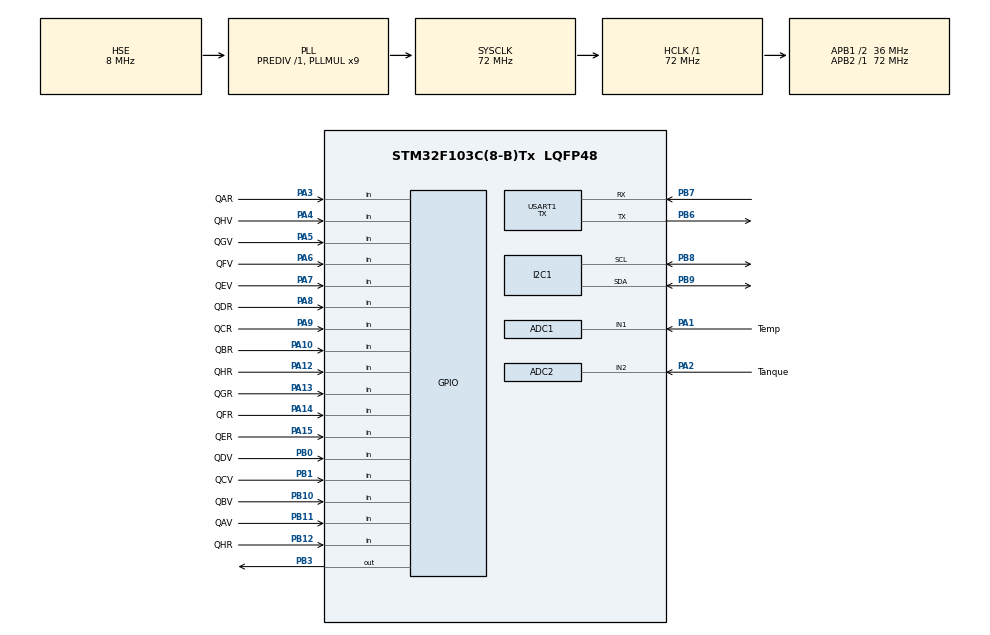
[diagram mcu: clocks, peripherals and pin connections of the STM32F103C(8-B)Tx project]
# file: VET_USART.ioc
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ADC1.Channel-0\#ChannelRegularConversion=ADC_CHANNEL_1
ADC1.ContinuousConvMode=ENABLE
ADC1.NbrOfConversionFlag=1
ADC1.Rank-0\#ChannelRegularConversion=1
ADC1.SamplingTime-0\#ChannelRegularConversion=ADC_SAMPLETIME_1CYCLE_5
ADC1.master=1
ADC2.Channel-0\#ChannelRegularConversion=ADC_CHANNEL_2
ADC2.ContinuousConvMode=ENABLE
ADC2.NbrOfConversionFlag=1
ADC2.Rank-0\#ChannelRegularConversion=1
ADC2.SamplingTime-0\#ChannelRegularConversion=ADC_SAMPLETIME_1CYCLE_5
Mcu.Family=STM32F1
Mcu.Name=STM32F103C(8-B)Tx
Mcu.Package=LQFP48
NVIC.PriorityGroup=NVIC_PRIORITYGROUP_4
NVIC.TIM3_IRQn=true\:0\:0\:false\:false\:true\:true\:true\:true
PA1.GPIO_Label=Temp
PA1.Signal=ADCx_IN1
PA10.GPIO_Label=QBR
PA10.Signal=GPIO_Input
PA12.GPIO_Label=QHR
PA12.Signal=GPIO_Input
PA13.GPIO_Label=QGR
PA13.Signal=GPIO_Input
PA14.GPIO_Label=QFR
PA14.Signal=GPIO_Input
PA15.GPIO_Label=QER
PA15.Signal=GPIO_Input
PA2.GPIO_Label=Tanque
PA2.Signal=ADCx_IN2
PA3.GPIO_Label=QAR
PA3.Signal=GPIO_Input
PA4.GPIO_Label=QHV
PA4.Signal=GPIO_Input
PA5.GPIO_Label=QGV
PA5.Signal=GPIO_Input
PA6.GPIO_Label=QFV
PA6.Signal=GPIO_Input
PA7.GPIO_Label=QEV
PA7.Signal=GPIO_Input
PA8.GPIO_Label=QDR
PA8.Signal=GPIO_Input
PA9.GPIO_Label=QCR
PA9.Signal=GPIO_Input
PB0.GPIO_Label=QDV
PB0.Signal=GPIO_Input
PB1.GPIO_Label=QCV
PB1.Signal=GPIO_Input
PB10.GPIO_Label=QBV
PB10.Signal=GPIO_Input
PB11.GPIO_Label=QAV
PB11.Signal=GPIO_Input
PB12.GPIO_Label=QHR
PB12.Signal=GPIO_Input
PB3.GPIO_Speed=GPIO_SPEED_FREQ_HIGH
PB3.Signal=GPIO_Output
PB6.Mode=Asynchronous
PB6.Signal=USART1_TX
PB7.Mode=Asynchronous
PB7.Signal=USART1_RX
PB8.Mode=I2C
PB8.Signal=I2C1_SCL
PB9.Mode=I2C
PB9.Signal=I2C1_SDA
PD0-OSC_IN.Mode=HSE-External-Oscillator
PD0-OSC_IN.Signal=RCC_OSC_IN
PD1-OSC_OUT.Mode=HSE-External-Oscillator
PD1-OSC_OUT.Signal=RCC_OSC_OUT
ProjectManager.HeapSize=0x200
ProjectManager.StackSize=0x400
ProjectManager.TargetToolchain=STM32CubeIDE
RCC.ADCPresc=RCC_ADCPCLK2_DIV6
RCC.AHBFreq_Value=72000000
RCC.APB1CLKDivider=RCC_HCLK_DIV2
RCC.APB1Freq_Value=36000000
RCC.APB1TimFreq_Value=72000000
RCC.APB2Freq_Value=72000000
RCC.APB2TimFreq_Value=72000000
RCC.HCLKFreq_Value=72000000
RCC.PLLMUL=RCC_PLL_MUL9
RCC.PLLSourceVirtual=RCC_PLLSOURCE_HSE
RCC.SYSCLKFreq_VALUE=72000000
RCC.SYSCLKSource=RCC_SYSCLKSOURCE_PLLCLK
RCC.USBFreq_Value=72000000
SH.ADCx_IN1.0=ADC1_IN1,IN1
SH.ADCx_IN2.0=ADC2_IN2,IN2
TIM3.Period=5000
TIM3.Prescaler=7200
USART1.Mode=MODE_TX
USART1.VirtualMode=VM_ASYNC
VP_SYS_VS_ND.Mode=No_Debug
VP_TIM3_VS_ClockSourceINT.Mode=Internal
board=custom

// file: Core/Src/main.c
/* USER CODE BEGIN Header */
/**
  ******************************************************************************
  * @file           : main.c
  * @brief          : Main program body
  ******************************************************************************
  * @attention
  *
  * Copyright (c) 2023 STMicroelectronics.
  * All rights reserved.
  *
  * This software is licensed under terms that can be found in the LICENSE file
  * in the root directory of this software component.
  * If no LICENSE file comes with this software, it is provided AS-IS.
  *
  ******************************************************************************
  */
/* USER CODE END Header */
#include "main.h"

ADC_HandleTypeDef hadc1;
ADC_HandleTypeDef hadc2;

I2C_HandleTypeDef hi2c1;

TIM_HandleTypeDef htim3;

UART_HandleTypeDef huart1;

void SystemClock_Config(void);
static void MX_GPIO_Init(void);
static void MX_ADC1_Init(void);
static void MX_ADC2_Init(void);
static void MX_TIM3_Init(void);
static void MX_I2C1_Init(void);
static void MX_USART1_UART_Init(void);

/* USER CODE BEGIN 0 */
int32_t tanque;
int32_t temp;

int rpm, velo, rotacao, gas;
int QAR, QBR, QCR, QDR, QER, QFR, QGR, QHR;
int QAV, QBV, QCV, QDV, QEV, QFV, QGV, QHV;
int clear, rot;

uint8_t Cmd_End[3] = {0xff,0xff,0xff};

void NEXTION_SendNum (char *obj, int32_t temp, int32_t tanque)
{
	uint8_t *buffer = malloc(30*sizeof (char));
	int len = sprintf ((char *)buffer, "%gas.val=%ld", obj, tanque);
	HAL_UART_Transmit(&huart1, buffer, len, 1000);
	HAL_UART_Transmit(&huart1, Cmd_End, 3, 100);
	free(buffer);
	*buffer = malloc(30*sizeof (char));
    len = sprintf ((char *)buffer, "%temp.val=%ld", obj, temp);
    HAL_UART_Transmit(&huart1, buffer, len, 1000);
    HAL_UART_Transmit(&huart1, Cmd_End, 3, 100);
	free(buffer);
}

/* USER CODE END 0 */

int main(void)
{
  /* USER CODE BEGIN 1 */
 // uint8_t MSG[35] = {'\0'};
  /* USER CODE END 1 */

  /* MCU Configuration--------------------------------------------------------*/

  /* Reset of all peripherals, Initializes the Flash interface and the Systick. */
  HAL_Init();

  /* Configure the system clock */
  SystemClock_Config();

  /* Initialize all configured peripherals */
  MX_GPIO_Init();
  MX_ADC1_Init();
  MX_ADC2_Init();
  MX_TIM3_Init();
  MX_I2C1_Init();
  MX_USART1_UART_Init();
  /* USER CODE BEGIN 2 */
  HAL_ADC_Start(&hadc1);
  HAL_ADC_Start(&hadc2);
  HAL_TIM_Base_Start_IT(&htim3);
  /* USER CODE END 2 */

  /* Infinite loop */
  /* USER CODE BEGIN WHILE */
  while (1)
  {
	//HAL_GPIO_WritePin(Clear_GPIO_Port, Clear_Pin, GPIO_PIN_SET);//clear
    /*sprintf(MSG, "%d", tanque);
  	HAL_UART_Transmit(&huart1, MSG, sizeof(MSG), 100);
  	sprintf(MSG, ",%d", temp);
  	HAL_UART_Transmit(&huart1, MSG, sizeof(MSG), 100);
  	sprintf(MSG, "%d", rpm);
    HAL_UART_Transmit(&huart1, MSG, sizeof(MSG), 100);
  	sprintf(MSG, ",%d", velo);
    HAL_UART_Transmit(&huart1, MSG, sizeof(MSG), 100);
  	sprintf(MSG, ";\r\n");
    HAL_UART_Transmit(&huart1, MSG, sizeof(MSG), 100);*/
	NEXTION_SendNum("n0", temp, tanque);

    /* USER CODE END WHILE */

  }
}

void SystemClock_Config(void)
{
  RCC_OscInitTypeDef RCC_OscInitStruct = {0};
  RCC_ClkInitTypeDef RCC_ClkInitStruct = {0};
  RCC_PeriphCLKInitTypeDef PeriphClkInit = {0};

  /** Initializes the RCC Oscillators according to the specified parameters
  * in the RCC_OscInitTypeDef structure.
  */
  RCC_OscInitStruct.OscillatorType = RCC_OSCILLATORTYPE_HSE;
  RCC_OscInitStruct.HSEState = RCC_HSE_ON;
  RCC_OscInitStruct.HSEPredivValue = RCC_HSE_PREDIV_DIV1;
  RCC_OscInitStruct.HSIState = RCC_HSI_ON;
  RCC_OscInitStruct.PLL.PLLState = RCC_PLL_ON;
  RCC_OscInitStruct.PLL.PLLSource = RCC_PLLSOURCE_HSE;
  RCC_OscInitStruct.PLL.PLLMUL = RCC_PLL_MUL9;
  if (HAL_RCC_OscConfig(&RCC_OscInitStruct) != HAL_OK)
  {
    Error_Handler();
  }

  /** Initializes the CPU, AHB and APB buses clocks
  */
  RCC_ClkInitStruct.ClockType = RCC_CLOCKTYPE_HCLK|RCC_CLOCKTYPE_SYSCLK
                              |RCC_CLOCKTYPE_PCLK1|RCC_CLOCKTYPE_PCLK2;
  RCC_ClkInitStruct.SYSCLKSource = RCC_SYSCLKSOURCE_PLLCLK;
  RCC_ClkInitStruct.AHBCLKDivider = RCC_SYSCLK_DIV1;
  RCC_ClkInitStruct.APB1CLKDivider = RCC_HCLK_DIV2;
  RCC_ClkInitStruct.APB2CLKDivider = RCC_HCLK_DIV1;

  if (HAL_RCC_ClockConfig(&RCC_ClkInitStruct, FLASH_LATENCY_2) != HAL_OK)
  {
    Error_Handler();
  }
  PeriphClkInit.PeriphClockSelection = RCC_PERIPHCLK_ADC;
  PeriphClkInit.AdcClockSelection = RCC_ADCPCLK2_DIV6;
  if (HAL_RCCEx_PeriphCLKConfig(&PeriphClkInit) != HAL_OK)
  {
    Error_Handler();
  }
}

static void MX_ADC1_Init(void)
{

  ADC_ChannelConfTypeDef sConfig = {0};

  /** Common config
  */
  hadc1.Instance = ADC1;
  hadc1.Init.ScanConvMode = ADC_SCAN_DISABLE;
  hadc1.Init.ContinuousConvMode = ENABLE;
  hadc1.Init.DiscontinuousConvMode = DISABLE;
  hadc1.Init.ExternalTrigConv = ADC_SOFTWARE_START;
  hadc1.Init.DataAlign = ADC_DATAALIGN_RIGHT;
  hadc1.Init.NbrOfConversion = 1;
  if (HAL_ADC_Init(&hadc1) != HAL_OK)
  {
    Error_Handler();
  }

  /** Configure Regular Channel
  */
  sConfig.Channel = ADC_CHANNEL_1;
  sConfig.Rank = ADC_REGULAR_RANK_1;
  sConfig.SamplingTime = ADC_SAMPLETIME_1CYCLE_5;
  if (HAL_ADC_ConfigChannel(&hadc1, &sConfig) != HAL_OK)
  {
    Error_Handler();
  }

}

static void MX_ADC2_Init(void)
{

  ADC_ChannelConfTypeDef sConfig = {0};

  /** Common config
  */
  hadc2.Instance = ADC2;
  hadc2.Init.ScanConvMode = ADC_SCAN_DISABLE;
  hadc2.Init.ContinuousConvMode = ENABLE;
  hadc2.Init.DiscontinuousConvMode = DISABLE;
  hadc2.Init.ExternalTrigConv = ADC_SOFTWARE_START;
  hadc2.Init.DataAlign = ADC_DATAALIGN_RIGHT;
  hadc2.Init.NbrOfConversion = 1;
  if (HAL_ADC_Init(&hadc2) != HAL_OK)
  {
    Error_Handler();
  }

  /** Configure Regular Channel
  */
  sConfig.Channel = ADC_CHANNEL_2;
  sConfig.Rank = ADC_REGULAR_RANK_1;
  sConfig.SamplingTime = ADC_SAMPLETIME_1CYCLE_5;
  if (HAL_ADC_ConfigChannel(&hadc2, &sConfig) != HAL_OK)
  {
    Error_Handler();
  }

}

static void MX_I2C1_Init(void)
{

  hi2c1.Instance = I2C1;
  hi2c1.Init.ClockSpeed = 100000;
  hi2c1.Init.DutyCycle = I2C_DUTYCYCLE_2;
  hi2c1.Init.OwnAddress1 = 0;
  hi2c1.Init.AddressingMode = I2C_ADDRESSINGMODE_7BIT;
  hi2c1.Init.DualAddressMode = I2C_DUALADDRESS_DISABLE;
  hi2c1.Init.OwnAddress2 = 0;
  hi2c1.Init.GeneralCallMode = I2C_GENERALCALL_DISABLE;
  hi2c1.Init.NoStretchMode = I2C_NOSTRETCH_DISABLE;
  if (HAL_I2C_Init(&hi2c1) != HAL_OK)
  {
    Error_Handler();
  }

}

static void MX_TIM3_Init(void)
{

  TIM_ClockConfigTypeDef sClockSourceConfig = {0};
  TIM_MasterConfigTypeDef sMasterConfig = {0};

  htim3.Instance = TIM3;
  htim3.Init.Prescaler = 7200;
  htim3.Init.CounterMode = TIM_COUNTERMODE_UP;
  htim3.Init.Period = 5000;
  htim3.Init.ClockDivision = TIM_CLOCKDIVISION_DIV1;
  htim3.Init.AutoReloadPreload = TIM_AUTORELOAD_PRELOAD_DISABLE;
  if (HAL_TIM_Base_Init(&htim3) != HAL_OK)
  {
    Error_Handler();
  }
  sClockSourceConfig.ClockSource = TIM_CLOCKSOURCE_INTERNAL;
  if (HAL_TIM_ConfigClockSource(&htim3, &sClockSourceConfig) != HAL_OK)
  {
    Error_Handler();
  }
  sMasterConfig.MasterOutputTrigger = TIM_TRGO_RESET;
  sMasterConfig.MasterSlaveMode = TIM_MASTERSLAVEMODE_DISABLE;
  if (HAL_TIMEx_MasterConfigSynchronization(&htim3, &sMasterConfig) != HAL_OK)
  {
    Error_Handler();
  }

}

static void MX_USART1_UART_Init(void)
{

  huart1.Instance = USART1;
  huart1.Init.BaudRate = 115200;
  huart1.Init.WordLength = UART_WORDLENGTH_8B;
  huart1.Init.StopBits = UART_STOPBITS_1;
  huart1.Init.Parity = UART_PARITY_NONE;
  huart1.Init.Mode = UART_MODE_TX;
  huart1.Init.HwFlowCtl = UART_HWCONTROL_NONE;
  huart1.Init.OverSampling = UART_OVERSAMPLING_16;
  if (HAL_UART_Init(&huart1) != HAL_OK)
  {
    Error_Handler();
  }

}

static void MX_GPIO_Init(void)
{
  GPIO_InitTypeDef GPIO_InitStruct = {0};

  /* GPIO Ports Clock Enable */
  __HAL_RCC_GPIOD_CLK_ENABLE();
  __HAL_RCC_GPIOA_CLK_ENABLE();
  __HAL_RCC_GPIOB_CLK_ENABLE();

  /*Configure GPIO pin Output Level */
  HAL_GPIO_WritePin(GPIOB, GPIO_PIN_3, GPIO_PIN_RESET);

  /*Configure GPIO pins : QAR_Pin QHV_Pin QGV_Pin QFV_Pin
                           QEV_Pin QDR_Pin QCR_Pin QBR_Pin
                           QHRA12_Pin QGR_Pin QFR_Pin QER_Pin */
  GPIO_InitStruct.Pin = QAR_Pin|QHV_Pin|QGV_Pin|QFV_Pin
                          |QEV_Pin|QDR_Pin|QCR_Pin|QBR_Pin
                          |QHRA12_Pin|QGR_Pin|QFR_Pin|QER_Pin;
  GPIO_InitStruct.Mode = GPIO_MODE_INPUT;
  GPIO_InitStruct.Pull = GPIO_NOPULL;
  HAL_GPIO_Init(GPIOA, &GPIO_InitStruct);

  /*Configure GPIO pins : QDV_Pin QCV_Pin QBV_Pin QAV_Pin
                           QHR_Pin */
  GPIO_InitStruct.Pin = QDV_Pin|QCV_Pin|QBV_Pin|QAV_Pin
                          |QHR_Pin;
  GPIO_InitStruct.Mode = GPIO_MODE_INPUT;
  GPIO_InitStruct.Pull = GPIO_NOPULL;
  HAL_GPIO_Init(GPIOB, &GPIO_InitStruct);

  /*Configure GPIO pin : PB3 */
  GPIO_InitStruct.Pin = GPIO_PIN_3;
  GPIO_InitStruct.Mode = GPIO_MODE_OUTPUT_PP;
  GPIO_InitStruct.Pull = GPIO_NOPULL;
  GPIO_InitStruct.Speed = GPIO_SPEED_FREQ_HIGH;
  HAL_GPIO_Init(GPIOB, &GPIO_InitStruct);

}

/* USER CODE BEGIN 4 */
void HAL_TIM_PeriodElapsedCallback(TIM_HandleTypeDef *htim)
{
  if(htim->Instance == TIM3)
  {
	  //leitura dos ADCS
	  HAL_ADC_PollForConversion(&hadc1,1000);
	  temp = HAL_ADC_GetValue(&hadc1);
	  HAL_ADC_PollForConversion(&hadc2,1000);
	  tanque = HAL_ADC_GetValue(&hadc2);
	  //fim da leitura dos ADCS
	  //Leita GPIOS velocidade e rpm
	    QAR=HAL_GPIO_ReadPin(GPIOA, QAR_Pin);//
	    QBR=HAL_GPIO_ReadPin(GPIOA, QBR_Pin);//
	    QCR=HAL_GPIO_ReadPin(GPIOA, QCR_Pin);//
	    QDR=HAL_GPIO_ReadPin(GPIOA, QDR_Pin);//
	    QER=HAL_GPIO_ReadPin(GPIOA, QER_Pin);//
	    QFR=HAL_GPIO_ReadPin(GPIOB, QFR_Pin);//HABILITAR
	    QGR=HAL_GPIO_ReadPin(GPIOB, QGR_Pin);//HABILITAR
	    QHR=HAL_GPIO_ReadPin(GPIOB, QHR_Pin);//
	    rpm=((QAR*1)+(QBR*2)+(QCR*4)+(QDR*8)+(QER*16)+(QFR*32)+(QGR*64)+(QHR*128));
	    rpm=rpm*30;//rotação por segundo para RPM

	    QAV=HAL_GPIO_ReadPin(GPIOB, QAV_Pin);//
	    QBV=HAL_GPIO_ReadPin(GPIOB, QBV_Pin);//
	    QCV=HAL_GPIO_ReadPin(GPIOB, QCV_Pin);//
	    QDV=HAL_GPIO_ReadPin(GPIOB, QDV_Pin);//
	    QEV=HAL_GPIO_ReadPin(GPIOA, QEV_Pin);//
	    QFV=HAL_GPIO_ReadPin(GPIOA, QFV_Pin);//
	    QGV=HAL_GPIO_ReadPin(GPIOA, QGV_Pin);//
	    QHV=HAL_GPIO_ReadPin(GPIOA, QHV_Pin);//
	    HAL_GPIO_TogglePin(GPIOB, GPIO_PIN_3);//clear

	    velo=((QAV*1)+(QBV*2)+(QCV*4)+(QDV*8)+(QEV*16)+(QFV*32)+(QGV*64)+(QHV*128));
	    velo=velo*0.0915*7.2;
	    /*velo=93;*/

	    if(gas<1952){
	  	  tanque=9;
	    }
	    if(gas<1742){
	  	  tanque=8;
	    }
	    if(gas<1366){
	  	  tanque=7;
	    }
	    if(gas<1102){
	  	  tanque=6;
	    }
	    if(gas<719){
	  	  tanque=5;
	    }
	    if(gas<543){
	  	  tanque=4;
	    }
	    if(gas<151){
	  	  tanque=3;
	    }
	    if(rpm<3250){
	    tanque=18;
	    	    }
	    if(rpm<3000){
	    rot=17;
	    	    }
	    if(rpm<2750){
	    rot=16;
	    	    }
	    if(rpm<2500){
	    rot=15;
	    	    }
	    if(rpm<2250){
	    rot=14;
	    	    }
	    if(rpm<2000){
	    rot=13;
	    	    }
	    if(rpm<1750){
	    rot=12;
	    	    }
	    if(rpm<1500){
	   	rot=11;
	   	    	    }
	    if(rpm<1250){
	   	rot=10;
	   	    	    }
	  }

  }

/* USER CODE END 4 */

void Error_Handler(void)
{
  /* USER CODE BEGIN Error_Handler_Debug */
  /* User can add his own implementation to report the HAL error return state */
  __disable_irq();
  while (1)
  {
	  NEXTION_SendNum("n0", temp, tanque);
  }
  /* USER CODE END Error_Handler_Debug */
}
